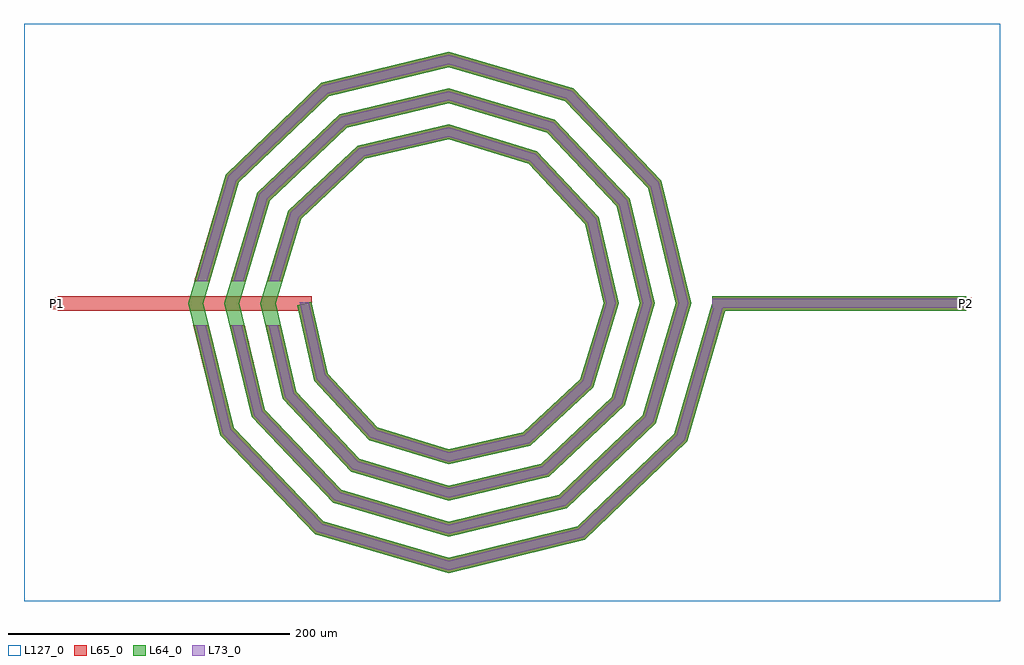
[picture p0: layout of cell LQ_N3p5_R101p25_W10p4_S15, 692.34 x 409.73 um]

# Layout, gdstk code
import gdstk
lib = gdstk.Library(unit=1e-6, precision=1e-09)
def R(c, l, rs):  # rectangles x0, y0, x1, y1
    for r in rs: c.add(gdstk.rectangle(r[:2], r[2:], *l))
def P(c, l, *ps):  # polygons
    for p in ps: c.add(gdstk.Polygon(p, *l))
L64_0 = (64, 0)
L65_0 = (65, 0)
L73_0 = (73, 0)
L127_0 = (127, 0)

lq_n3p5_r101p25_w10p4_s1 = lib.new_cell('LQ_N3p5_R101p25_W10p4_S15')
R(lq_n3p5_r101p25_w10p4_s1, L64_0, [(187.131,-5.2,367.131,5.2)])
P(lq_n3p5_r101p25_w10p4_s1, L64_0, [(-85.783,-49.764),(-50.482,-87.84),(0.198,-103.454),(52.965,-91.351),(93.397,-53.703),(109.876,0.187),(96.918,56.167),(56.923,98.953),(0.177,116.299),(-59.37,102.485),(-104.511,60.142),(-122.721,0.168),(-108.051,-62.574),(-63.361,-110.069),(0.16,-129.144),(65.779,-113.617),(115.627,-66.579),(135.567,0.153),(119.183,68.984),(69.796,121.186),(0.146,141.989),(-72.19,124.748),(-126.745,73.013),(-148.412,0.14),(-130.314,-75.396),(-76.229,-132.305),(0.134,-154.834),(78.602,-135.878),(137.864,-79.445),(161.257,0.129),(141.443,81.809),(82.661,143.424),(0.124,167.68),(-85.017,147.008),(-148.984,85.876),(-174.103,0.12),(-152.572,-88.224),(-89.091,-154.544),(0.116,-180.525),(91.432,-158.137),(160.104,-92.306),(187.337,1.45),(197.324,-1.45),(169.314,-97.884),(96.617,-167.573),(0.116,-191.29),(-94.676,-163.75),(-162.013,-93.402),(-184.867,0.12),(-158.185,91.468),(-90.186,156.453),(0.124,178.444),(88.261,152.62),(150.893,86.971),(172.022,0.129),(147.055,-85.053),(83.755,-145.333),(0.134,-165.599),(-81.847,-141.49),(-139.773,-80.539),(-159.176,0.14),(-135.925,78.64),(-77.322,134.214),(0.146,152.753),(75.434,130.359),(128.654,74.105),(146.33,0.153),(124.794,-72.229),(70.888,-123.096),(0.16,-139.907),(-69.024,-119.227),(-117.537,-67.669),(-133.484,0.168),(-113.661,65.819),(-64.45,111.979),(0.177,127.061),(62.615,108.094),(106.421,61.231),(120.637,0.187),(102.526,-59.413),(58.01,-100.864),(0.198,-114.214),(-56.211,-96.958),(-95.307,-54.788),(-107.482,-1.151),(-97.34,1.151)])
R(lq_n3p5_r101p25_w10p4_s1, L65_0, [(-277.211,-5.2,-97.211,5.2), (187.131,-5.2,367.131,5.2), (-281.211,-4,-273.211,4), (363.131,-4,371.131,4)])
P(lq_n3p5_r101p25_w10p4_s1, L65_0, [(-152.572,-88.224),(-89.091,-154.544),(0.116,-180.526),(91.432,-158.137),(160.104,-92.306),(187.337,1.451),(197.324,-1.451),(169.314,-97.884),(96.617,-167.574),(0.116,-191.29),(-94.676,-163.75),(-162.013,-93.402),(-181.026,-15.6),(-170.32,-15.6)],
  [(-130.314,-75.396),(-76.229,-132.305),(0.134,-154.835),(78.602,-135.879),(137.864,-79.445),(161.257,0.129),(141.443,81.809),(82.661,143.424),(0.124,167.68),(-85.017,147.008),(-148.984,85.876),(-169.511,15.6),(-180.346,15.6),(-158.185,91.468),(-90.186,156.453),(0.124,178.444),(88.261,152.62),(150.893,86.971),(172.022,0.129),(147.056,-85.054),(83.755,-145.333),(0.134,-165.599),(-81.847,-141.49),(-139.773,-80.539),(-155.39,-15.6),(-144.694,-15.6)],
  [(-108.051,-62.574),(-63.361,-110.069),(0.16,-129.144),(65.779,-113.617),(115.627,-66.579),(135.567,0.153),(119.183,68.984),(69.796,121.186),(0.146,141.989),(-72.19,124.748),(-126.745,73.013),(-143.75,15.6),(-154.597,15.6),(-135.925,78.64),(-77.322,134.214),(0.146,152.753),(75.434,130.36),(128.655,74.105),(146.33,0.153),(124.794,-72.229),(70.888,-123.096),(0.16,-139.907),(-69.024,-119.227),(-117.537,-67.669),(-129.777,-15.6),(-119.094,-15.6)],
  [(-50.482,-87.84),(0.198,-103.454),(52.965,-91.351),(93.397,-53.703),(109.876,0.187),(96.918,56.167),(56.923,98.954),(0.177,116.299),(-59.37,102.485),(-104.511,60.142),(-117.96,15.6),(-128.824,15.6),(-113.661,65.819),(-64.45,111.979),(0.177,127.061),(62.616,108.094),(106.421,61.231),(120.638,0.187),(102.526,-59.413),(58.01,-100.864),(0.198,-114.214),(-56.211,-96.958),(-95.307,-54.788),(-107.482,-1.151),(-97.34,1.151),(-85.783,-49.764)])
R(lq_n3p5_r101p25_w10p4_s1, L73_0, [(187.131,-3.2,367.131,3.2)])
P(lq_n3p5_r101p25_w10p4_s1, L73_0, [(-154.388,-89.22),(-90.165,-156.314),(0.071,-182.596),(92.429,-159.951),(161.875,-93.379),(189.258,0.893),(195.404,0.893),(167.543,-96.811),(95.62,-165.759),(0.071,-189.22),(-93.602,-161.979),(-160.198,-92.406),(-178.967,-15.6),(-172.379,-15.6)],
  [(-132.133,-76.385),(-77.309,-134.071),(0.083,-156.905),(79.593,-137.697),(139.632,-80.524),(163.327,0.079),(143.261,82.802),(83.738,145.193),(0.077,169.75),(-86.011,148.824),(-150.753,86.951),(-171.595,15.6),(-178.262,15.6),(-156.416,90.393),(-89.192,154.637),(0.077,176.374),(87.184,150.852),(149.076,85.978),(169.951,0.079),(145.288,-83.975),(82.764,-143.515),(0.083,-163.529),(-80.766,-139.724),(-137.954,-79.55),(-153.333,-15.6),(-146.751,-15.6)],
  [(-109.875,-63.554),(-64.45,-111.83),(0.098,-131.214),(66.761,-115.44),(117.39,-67.665),(137.636,0.094),(121.004,69.969),(70.88,122.95),(0.09,144.059),(-73.177,126.569),(-128.511,74.095),(-145.836,15.6),(-152.511,15.6),(-134.16,77.558),(-76.335,132.394),(0.09,150.683),(74.35,128.595),(126.833,73.12),(144.26,0.094),(123.031,-71.142),(69.905,-121.273),(0.098,-137.837),(-67.935,-117.466),(-115.713,-66.69),(-127.723,-15.6),(-121.148,-15.6)],
  [(-51.584,-89.594),(0.122,-105.523),(53.935,-93.18),(95.152,-54.801),(111.946,0.115),(98.745,57.141),(58.018,100.711),(0.109,118.368),(-60.347,104.311),(-106.271,61.234),(-120.049,15.6),(-126.735,15.6),(-111.901,64.727),(-63.473,110.153),(0.109,124.991),(61.521,106.336),(104.593,60.257),(118.568,0.115),(100.77,-58.315),(57.04,-99.034),(0.122,-112.145),(-55.109,-95.204),(-93.475,-53.822),(-105.532,0.708),(-99.291,0.708),(-87.614,-50.73)])
R(lq_n3p5_r101p25_w10p4_s1, L127_0, [(-301.211,-211.29,391.131,198.444)])
lq_n3p5_r101p25_w10p4_s1.add(gdstk.Label('P2', (367.131,0), layer=65, texttype=0))
lq_n3p5_r101p25_w10p4_s1.add(gdstk.Label('P1', (-277.211,0), layer=65, texttype=0))
lq_n3p5_r101p25_w10p4_s1.add(gdstk.Label('P2', (371.131,0), layer=145, texttype=0))
lq_n3p5_r101p25_w10p4_s1.add(gdstk.Label('P1', (-281.211,0), layer=145, texttype=0))

lib.write_gds('LQ_N3p5_R101p25_W10p4_S15.gds')
